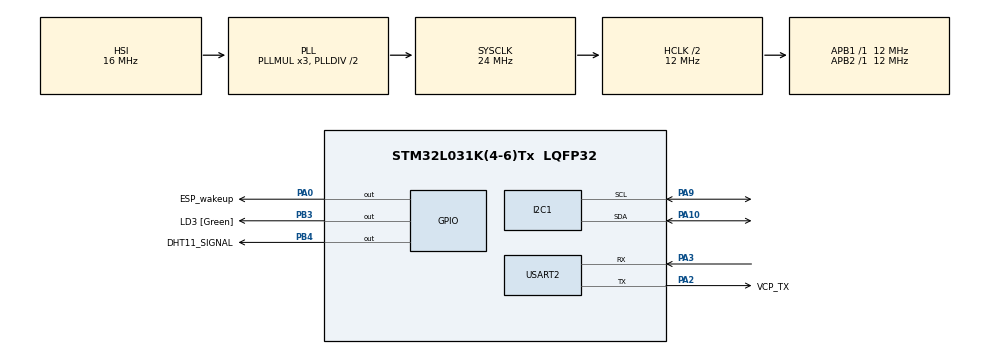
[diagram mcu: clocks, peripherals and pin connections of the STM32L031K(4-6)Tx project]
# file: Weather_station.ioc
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Dma.Request0=USART2_RX
Dma.USART2_RX.0.Direction=DMA_PERIPH_TO_MEMORY
Dma.USART2_RX.0.Instance=DMA1_Channel5
Dma.USART2_RX.0.MemDataAlignment=DMA_MDATAALIGN_BYTE
Dma.USART2_RX.0.MemInc=DMA_MINC_ENABLE
Dma.USART2_RX.0.Mode=DMA_NORMAL
Dma.USART2_RX.0.PeriphDataAlignment=DMA_PDATAALIGN_BYTE
Dma.USART2_RX.0.PeriphInc=DMA_PINC_DISABLE
Dma.USART2_RX.0.Priority=DMA_PRIORITY_LOW
I2C1.Timing=0x40000A0B
IWDG.Prescaler=IWDG_PRESCALER_256
Mcu.Family=STM32L0
Mcu.Name=STM32L031K(4-6)Tx
Mcu.Package=LQFP32
NVIC.DMA1_Channel4_5_6_7_IRQn=true\:0\:0\:false\:false\:true\:false\:true
NVIC.RCC_IRQn=true\:0\:0\:false\:false\:true\:true\:false
NVIC.RTC_IRQn=true\:0\:0\:false\:true\:true\:2\:true\:true
NVIC.USART2_IRQn=true\:0\:0\:false\:true\:true\:1\:true\:true
PA0-CK_IN.GPIO_Label=ESP_wakeup
PA0-CK_IN.GPIO_ModeDefaultOutputPP=GPIO_MODE_OUTPUT_OD
PA0-CK_IN.PinState=GPIO_PIN_SET
PA0-CK_IN.Signal=GPIO_Output
PA10.Mode=I2C
PA10.Signal=I2C1_SDA
PA13.GPIO_Label=TMS
PA13.Mode=Serial_Wire
PA13.Signal=SYS_SWDIO
PA14.GPIO_Label=TCK
PA14.Mode=Serial_Wire
PA14.Signal=SYS_SWCLK
PA2.GPIO_Label=VCP_TX
PA2.Mode=Asynchronous
PA2.Signal=USART2_TX
PA3.Mode=Asynchronous
PA3.Signal=USART2_RX
PA9.Mode=I2C
PA9.Signal=I2C1_SCL
PB3.GPIO_Label=LD3 [Green]
PB3.Signal=GPIO_Output
PB4.GPIO_Label=DHT11_SIGNAL
PB4.GPIO_ModeDefaultOutputPP=GPIO_MODE_OUTPUT_OD
PB4.PinState=GPIO_PIN_SET
PB4.Signal=GPIO_Output
PC14-OSC32_IN.Mode=LSE-External-Oscillator
PC14-OSC32_IN.Signal=RCC_OSC32_IN
PC15-OSC32_OUT.Mode=LSE-External-Oscillator
PC15-OSC32_OUT.Signal=RCC_OSC32_OUT
ProjectManager.HeapSize=0x200
ProjectManager.StackSize=0x400
ProjectManager.TargetToolchain=STM32CubeIDE
RCC.AHBCLKDivider=RCC_SYSCLK_DIV2
RCC.AHBFreq_Value=12000000
RCC.APB1Freq_Value=12000000
RCC.APB1TimFreq_Value=12000000
RCC.APB2Freq_Value=12000000
RCC.APB2TimFreq_Value=12000000
RCC.HCLKFreq_Value=12000000
RCC.HSE_VALUE=8000000
RCC.HSI16_VALUE=16000000
RCC.HSI48_VALUE=48000000
RCC.HSI_VALUE=16000000
RCC.MSI_VALUE=2097000
RCC.RTCClockSelection=RCC_RTCCLKSOURCE_LSE
RCC.RTCClockSelectionVirtual=RCC_RTCCLKSOURCE_LSE
RCC.SYSCLKFreq_VALUE=24000000
RCC.SYSCLKSource=RCC_SYSCLKSOURCE_PLLCLK
RCC.VCOOutputFreq_Value=48000000
RTC.Date=8
RTC.Format=RTC_FORMAT_BIN
RTC.Month=RTC_MONTH_OCTOBER
RTC.WakeUpClock-WakeUp=RTC_WAKEUPCLOCK_CK_SPRE_16BITS
RTC.WakeUpCounter-WakeUp=60
RTC.WeekDay=RTC_WEEKDAY_FRIDAY
TIM2.Prescaler=12
USART2.VirtualMode-Asynchronous=VM_ASYNC
VP_IWDG_VS_IWDG.Mode=IWDG_Activate
VP_RTC_VS_RTC_Activate.Mode=RTC_Enabled
VP_RTC_VS_RTC_Calendar.Mode=RTC_Calendar
VP_RTC_VS_RTC_WakeUp_intern.Mode=WakeUp
VP_TIM2_VS_ClockSourceINT.Mode=Internal
board=NUCLEO-L031K6

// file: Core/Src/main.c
/* USER CODE BEGIN Header */
/**
  ******************************************************************************
  * @file           : main.c
  * @brief          : Main program body
  ******************************************************************************
  * @attention
  *
  * <h2><center>&copy; Copyright (c) 2021 STMicroelectronics.
  * All rights reserved.</center></h2>
  *
  * This software component is licensed by ST under BSD 3-Clause license,
  * the "License"; You may not use this file except in compliance with the
  * License. You may obtain a copy of the License at:
  *                        opensource.org/licenses/BSD-3-Clause
  *
  ******************************************************************************
  */
/* USER CODE END Header */
#include "main.h"
#include "dma.h"
#include "i2c.h"
#include "iwdg.h"
#include "rtc.h"
#include "tim.h"
#include "usart.h"
#include "gpio.h"

/* USER CODE BEGIN Includes */
#include "BMP280.h"
#include "delay.h"
#include "dht11.h"
#include "ESP01.h"
#include "Utilis.h"
#include "rtc_utilis.h"
#include "INA219.h"
/* USER CODE END Includes */

/* USER CODE BEGIN PTD */
dht11_sensor DHT11;
ESP8266_t ESP_module;

/* USER CODE END PTD */

/* USER CODE BEGIN PV */
uint8_t UART_RX_val[128];
int32_t bmp_temp;
uint32_t bmp_press;
uint8_t dht11_humidity;
int8_t dht11_temp;
uint8_t dht11_check_sum;
uint16_t solar_voltage;
uint8_t solar_current;
RTC_TimeTypeDef rtc_time;

uint16_t sensors_data_buff[5];

uint8_t INA_I2C_ADDR = 0x40;
const char API_Key[] = "BYP1JBKZ6647ICZ7"; // ThingSpeak Key
/* USER CODE END PV */

void SystemClock_Config(void);
static void MX_NVIC_Init(void);

int main(void)
{

  /* MCU Configuration--------------------------------------------------------*/

  /* Reset of all peripherals, Initializes the Flash interface and the Systick. */
  HAL_Init();

  /* Configure the system clock */
  SystemClock_Config();

  /* Initialize all configured peripherals */
  MX_GPIO_Init();
  MX_DMA_Init();

  MX_USART2_UART_Init();
  MX_I2C1_Init();
  MX_TIM2_Init();
  MX_RTC_Init();
  MX_IWDG_Init();

  /* Initialize interrupts */
  MX_NVIC_Init();
  /* USER CODE BEGIN 2 */
  HAL_UARTEx_ReceiveToIdle_DMA(&huart2, UART_RX_val, 128);
  //HAL_UART_Receive_IT(&huart2, &UART_RX_val, 1);
  INA219_Init(&hi2c1, INA_I2C_ADDR);
  delay_init();
  DHT11_Init(&DHT11, DHT11_SIGNAL_GPIO_Port, DHT11_SIGNAL_Pin);
  BMP280_Init(&hi2c1, 0x77);
  HAL_IWDG_Refresh(&hiwdg);
  ESP8266_Init(&ESP_module, "Wifi_name", "password", STATION);

  /* USER CODE END 2 */

  /* Infinite loop */
  /* USER CODE BEGIN WHILE */
  while (1)
  {
	  INA219_Get_Data_OneShot(&solar_voltage, &solar_current);
	  BMP280_get_data_FORCED(&bmp_temp, &bmp_press);
	  DHT11_get_data(&DHT11, &dht11_humidity, &dht11_temp, &dht11_check_sum);

	  sensors_data_buff[0] = bmp_temp;
	  sensors_data_buff[1] = bmp_press;
	  sensors_data_buff[2] = dht11_humidity;
	  sensors_data_buff[3] = solar_voltage;
	  sensors_data_buff[4] = solar_current;

	  HAL_IWDG_Refresh(&hiwdg);
	  ESP8266_TS_Send_Data_MultiField(&ESP_module, 5, sensors_data_buff);

	  //ESP8266_EnterLightSleep(&ESP_module, 0, 0);
	  ESP8266_EnterDeepSleep(&ESP_module, ESP_STOP_TIME_BETWEEN_SENDING_DATA);
	  Entry_LowPowerMode(ESP_STOP_TIME_BETWEEN_SENDING_DATA);
    /* USER CODE END WHILE */

  }
}

void SystemClock_Config(void)
{
  RCC_OscInitTypeDef RCC_OscInitStruct = {0};
  RCC_ClkInitTypeDef RCC_ClkInitStruct = {0};
  RCC_PeriphCLKInitTypeDef PeriphClkInit = {0};

  /** Configure the main internal regulator output voltage
  */
  __HAL_PWR_VOLTAGESCALING_CONFIG(PWR_REGULATOR_VOLTAGE_SCALE1);
  /** Configure LSE Drive Capability
  */
  HAL_PWR_EnableBkUpAccess();
  __HAL_RCC_LSEDRIVE_CONFIG(RCC_LSEDRIVE_LOW);
  /** Initializes the RCC Oscillators according to the specified parameters
  * in the RCC_OscInitTypeDef structure.
  */
  RCC_OscInitStruct.OscillatorType = RCC_OSCILLATORTYPE_HSI|RCC_OSCILLATORTYPE_LSI
                              |RCC_OSCILLATORTYPE_LSE;
  RCC_OscInitStruct.LSEState = RCC_LSE_ON;
  RCC_OscInitStruct.HSIState = RCC_HSI_ON;
  RCC_OscInitStruct.HSICalibrationValue = RCC_HSICALIBRATION_DEFAULT;
  RCC_OscInitStruct.LSIState = RCC_LSI_ON;
  RCC_OscInitStruct.PLL.PLLState = RCC_PLL_ON;
  RCC_OscInitStruct.PLL.PLLSource = RCC_PLLSOURCE_HSI;
  RCC_OscInitStruct.PLL.PLLMUL = RCC_PLLMUL_3;
  RCC_OscInitStruct.PLL.PLLDIV = RCC_PLLDIV_2;
  if (HAL_RCC_OscConfig(&RCC_OscInitStruct) != HAL_OK)
  {
    Error_Handler();
  }
  /** Initializes the CPU, AHB and APB buses clocks
  */
  RCC_ClkInitStruct.ClockType = RCC_CLOCKTYPE_HCLK|RCC_CLOCKTYPE_SYSCLK
                              |RCC_CLOCKTYPE_PCLK1|RCC_CLOCKTYPE_PCLK2;
  RCC_ClkInitStruct.SYSCLKSource = RCC_SYSCLKSOURCE_PLLCLK;
  RCC_ClkInitStruct.AHBCLKDivider = RCC_SYSCLK_DIV2;
  RCC_ClkInitStruct.APB1CLKDivider = RCC_HCLK_DIV1;
  RCC_ClkInitStruct.APB2CLKDivider = RCC_HCLK_DIV1;

  if (HAL_RCC_ClockConfig(&RCC_ClkInitStruct, FLASH_LATENCY_0) != HAL_OK)
  {
    Error_Handler();
  }
  PeriphClkInit.PeriphClockSelection = RCC_PERIPHCLK_USART2|RCC_PERIPHCLK_I2C1
                              |RCC_PERIPHCLK_RTC;
  PeriphClkInit.Usart2ClockSelection = RCC_USART2CLKSOURCE_PCLK1;
  PeriphClkInit.I2c1ClockSelection = RCC_I2C1CLKSOURCE_PCLK1;
  PeriphClkInit.RTCClockSelection = RCC_RTCCLKSOURCE_LSE;
  if (HAL_RCCEx_PeriphCLKConfig(&PeriphClkInit) != HAL_OK)
  {
    Error_Handler();
  }
}

/**
  * @brief NVIC Configuration.
  * @retval None
  */
static void MX_NVIC_Init(void)
{
  /* USART2_IRQn interrupt configuration */
  HAL_NVIC_SetPriority(USART2_IRQn, 0, 0);
  HAL_NVIC_EnableIRQ(USART2_IRQn);
  /* RTC_IRQn interrupt configuration */
  HAL_NVIC_SetPriority(RTC_IRQn, 0, 0);
  HAL_NVIC_EnableIRQ(RTC_IRQn);
}

/* USER CODE BEGIN 4 */
void HAL_UARTEx_RxEventCallback(UART_HandleTypeDef *huart, uint16_t Size)
{
	if(huart->Instance == USART2)
	{
		for(int i=0; i < Size; i++)
		{
			RB_Buff_Write(&ESP_module.ESP_RX_Buff, UART_RX_val[i]);
		}

		HAL_UARTEx_ReceiveToIdle_DMA(&huart2, UART_RX_val, 128);
	}
}
/* USER CODE END 4 */

void Error_Handler(void)
{
  __disable_irq();
  while (1)
  {
  }
}

/************************ (C) COPYRIGHT STMicroelectronics *****END OF FILE****/
